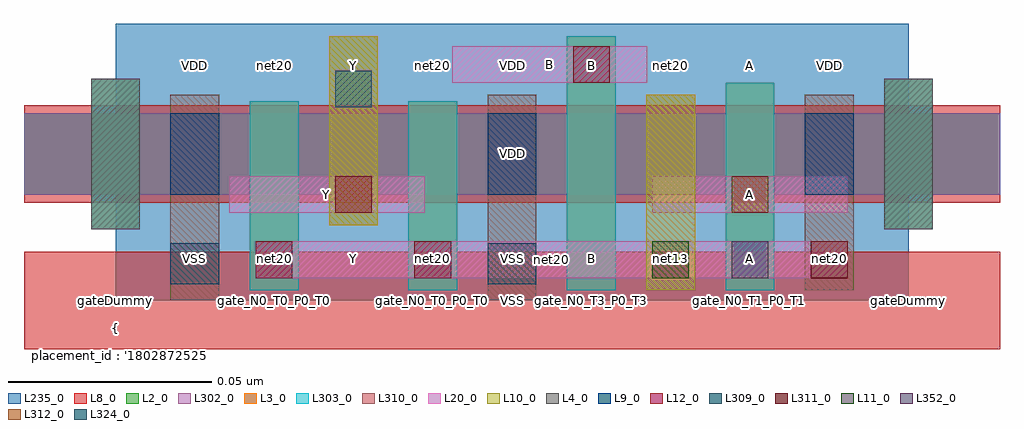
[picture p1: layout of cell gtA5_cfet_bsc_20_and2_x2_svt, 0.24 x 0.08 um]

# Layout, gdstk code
import gdstk
lib = gdstk.Library(unit=1e-6, precision=2.5e-10)
def R(c, l, rs):  # rectangles x0, y0, x1, y1
    for r in rs: c.add(gdstk.rectangle(r[:2], r[2:], *l))
def A(c, l, x, y, w, h, nx, ny, dx, dy):  # array of equal rectangles
    R(c, l, [(x+i*dx, y+j*dy, x+i*dx+w, y+j*dy+h) for i in range(nx) for j in range(ny)])
L2_0 = (2, 0)
L3_0 = (3, 0)
L4_0 = (4, 0)
L8_0 = (8, 0)
L9_0 = (9, 0)
L10_0 = (10, 0)
L11_0 = (11, 0)
L12_0 = (12, 0)
L20_0 = (20, 0)
L235_0 = (235, 0)
L302_0 = (302, 0)
L303_0 = (303, 0)
L309_0 = (309, 0)
L310_0 = (310, 0)
L311_0 = (311, 0)
L312_0 = (312, 0)
L324_0 = (324, 0)
L352_0 = (352, 0)

gta5_cfet_bsc_20_and2_x2 = lib.new_cell('gtA5_cfet_bsc_20_and2_x2_svt')
R(gta5_cfet_bsc_20_and2_x2, L2_0, [(-0.0225,0.026,0.2175,0.046)])
R(gta5_cfet_bsc_20_and2_x2, L3_0, [(0.033,0.0025,0.045,0.049), (0.072,0.0025,0.084,0.049), (0.111,0.0025,0.123,0.065), (0.15,0.0025,0.162,0.0535), (-0.006,0.0175,0.006,0.0545), (0.189,0.0175,0.201,0.0545)])
R(gta5_cfet_bsc_20_and2_x2, L4_0, [(-0.006,0.0175,0.006,0.0545), (0.189,0.0175,0.201,0.0545)])
R(gta5_cfet_bsc_20_and2_x2, L8_0, [(-0.0225,-0.012,0.2175,0.012), (-0.0225,0.024,0.2175,0.048)])
A(gta5_cfet_bsc_20_and2_x2, L9_0, 0.0135, 0.026, 0.012, 0.02, 3, 1, 0.078, 0)
R(gta5_cfet_bsc_20_and2_x2, L10_0, [(0.1305,0.0025,0.1425,0.0505), (0.0525,0.0185,0.0645,0.065)])
R(gta5_cfet_bsc_20_and2_x2, L11_0, [(0.132,0.0055,0.141,0.0145)])
R(gta5_cfet_bsc_20_and2_x2, L12_0, [(0.0345,0.0055,0.0435,0.0145), (0.0735,0.0055,0.0825,0.0145), (0.1125,0.0535,0.1215,0.0625)])
R(gta5_cfet_bsc_20_and2_x2, L20_0, [(0.0345,0.0055,0.18,0.0145), (0.028,0.0215,0.076,0.0305), (0.132,0.0215,0.18,0.0305), (0.0828,0.0535,0.1308,0.0625)])
R(gta5_cfet_bsc_20_and2_x2, L235_0, [(0,0,0.195,0.068)])
R(gta5_cfet_bsc_20_and2_x2, L302_0, [(-0.0225,0.026,0.2175,0.046)])
R(gta5_cfet_bsc_20_and2_x2, L303_0, [(0.033,0.0025,0.045,0.049), (0.072,0.0025,0.084,0.049), (0.111,0.0025,0.123,0.065), (0.15,0.0025,0.162,0.0535), (-0.006,0.0175,0.006,0.0545), (0.189,0.0175,0.201,0.0545)])
R(gta5_cfet_bsc_20_and2_x2, L309_0, [(0.0135,0.004,0.0255,0.014), (0.0915,0.004,0.1035,0.014)])
R(gta5_cfet_bsc_20_and2_x2, L310_0, [(0.0135,0,0.0255,0.0505), (0.0915,0,0.1035,0.0505), (0.1695,0.0025,0.1815,0.0505), (0.0525,0.0185,0.0645,0.065), (0.1305,0.026,0.1425,0.0505)])
R(gta5_cfet_bsc_20_and2_x2, L311_0, [(0.171,0.0055,0.18,0.0145), (0.054,0.0215,0.063,0.0305)])
R(gta5_cfet_bsc_20_and2_x2, L312_0, [(0.1515,0.0215,0.1605,0.0305)])
R(gta5_cfet_bsc_20_and2_x2, L324_0, [(0.054,0.0475,0.063,0.0565)])
R(gta5_cfet_bsc_20_and2_x2, L352_0, [(0.1515,0.0055,0.1605,0.0145)])
gta5_cfet_bsc_20_and2_x2.add(gdstk.Label('net20', (0.1072,0.01), layer=100, texttype=100))
gta5_cfet_bsc_20_and2_x2.add(gdstk.Label('gateDummy', (0,0), layer=103, texttype=103))
gta5_cfet_bsc_20_and2_x2.add(gdstk.Label('sd_N0_VSS_P0_VDD', (0.0195,0), layer=103, texttype=103))
gta5_cfet_bsc_20_and2_x2.add(gdstk.Label('gate_N0_T0_P0_T0', (0.039,0), layer=103, texttype=103))
gta5_cfet_bsc_20_and2_x2.add(gdstk.Label('sd_N0_T1_P0_T1', (0.0585,0), layer=103, texttype=103))
gta5_cfet_bsc_20_and2_x2.add(gdstk.Label('gate_N0_T0_P0_T0', (0.078,0), layer=103, texttype=103))
gta5_cfet_bsc_20_and2_x2.add(gdstk.Label('sd_N0_VSS_P0_VDD', (0.0975,0), layer=103, texttype=103))
gta5_cfet_bsc_20_and2_x2.add(gdstk.Label('gate_N0_T3_P0_T3', (0.117,0), layer=103, texttype=103))
gta5_cfet_bsc_20_and2_x2.add(gdstk.Label('sd_N0_abut_P0_T0', (0.1365,0), layer=103, texttype=103))
gta5_cfet_bsc_20_and2_x2.add(gdstk.Label('gate_N0_T1_P0_T1', (0.156,0), layer=103, texttype=103))
gta5_cfet_bsc_20_and2_x2.add(gdstk.Label('sd_N0_T0_P0_VDD', (0.1755,0), layer=103, texttype=103))
gta5_cfet_bsc_20_and2_x2.add(gdstk.Label('gateDummy', (0.195,0), layer=103, texttype=103))
gta5_cfet_bsc_20_and2_x2.add(gdstk.Label('}', (0,-0.0742), layer=104, texttype=104))
gta5_cfet_bsc_20_and2_x2.add(gdstk.Label('  power : None', (0,-0.0675), layer=104, texttype=104))
gta5_cfet_bsc_20_and2_x2.add(gdstk.Label('  performance : None', (0,-0.0607), layer=104, texttype=104))
gta5_cfet_bsc_20_and2_x2.add(gdstk.Label("  solution_hash : '9636578423902819790'", (0,-0.054), layer=104, texttype=104))
gta5_cfet_bsc_20_and2_x2.add(gdstk.Label('  number_m2 : 0', (0,-0.0473), layer=104, texttype=104))
gta5_cfet_bsc_20_and2_x2.add(gdstk.Label('  number_m1 : 0', (0,-0.0405), layer=104, texttype=104))
gta5_cfet_bsc_20_and2_x2.add(gdstk.Label('  number_m0cuts : 0', (0,-0.0338), layer=104, texttype=104))
gta5_cfet_bsc_20_and2_x2.add(gdstk.Label('  number_m0 : 4', (0,-0.027), layer=104, texttype=104))
gta5_cfet_bsc_20_and2_x2.add(gdstk.Label("  solution_number : '0000'", (0,-0.0203), layer=104, texttype=104))
gta5_cfet_bsc_20_and2_x2.add(gdstk.Label("  placement_id : '18028725256931618539'", (0,-0.0135), layer=104, texttype=104))
gta5_cfet_bsc_20_and2_x2.add(gdstk.Label('{', (0,-0.0067), layer=104, texttype=104))
gta5_cfet_bsc_20_and2_x2.add(gdstk.Label('VSS', (0.0195,0.0103), layer=105, texttype=105))
gta5_cfet_bsc_20_and2_x2.add(gdstk.Label('net20', (0.039,0.0103), layer=105, texttype=105))
gta5_cfet_bsc_20_and2_x2.add(gdstk.Label('Y', (0.0585,0.0103), layer=105, texttype=105))
gta5_cfet_bsc_20_and2_x2.add(gdstk.Label('net20', (0.078,0.0103), layer=105, texttype=105))
gta5_cfet_bsc_20_and2_x2.add(gdstk.Label('VSS', (0.0975,0.0103), layer=105, texttype=105))
gta5_cfet_bsc_20_and2_x2.add(gdstk.Label('B', (0.117,0.0103), layer=105, texttype=105))
gta5_cfet_bsc_20_and2_x2.add(gdstk.Label('net13', (0.1365,0.0103), layer=105, texttype=105))
gta5_cfet_bsc_20_and2_x2.add(gdstk.Label('A', (0.156,0.0103), layer=105, texttype=105))
gta5_cfet_bsc_20_and2_x2.add(gdstk.Label('net20', (0.1755,0.0103), layer=105, texttype=105))
gta5_cfet_bsc_20_and2_x2.add(gdstk.Label('VDD', (0.0195,0.0578), layer=105, texttype=105))
gta5_cfet_bsc_20_and2_x2.add(gdstk.Label('net20', (0.039,0.0578), layer=105, texttype=105))
gta5_cfet_bsc_20_and2_x2.add(gdstk.Label('Y', (0.0585,0.0578), layer=105, texttype=105))
gta5_cfet_bsc_20_and2_x2.add(gdstk.Label('net20', (0.078,0.0578), layer=105, texttype=105))
gta5_cfet_bsc_20_and2_x2.add(gdstk.Label('VDD', (0.0975,0.0578), layer=105, texttype=105))
gta5_cfet_bsc_20_and2_x2.add(gdstk.Label('B', (0.117,0.0578), layer=105, texttype=105))
gta5_cfet_bsc_20_and2_x2.add(gdstk.Label('net20', (0.1365,0.0578), layer=105, texttype=105))
gta5_cfet_bsc_20_and2_x2.add(gdstk.Label('A', (0.156,0.0578), layer=105, texttype=105))
gta5_cfet_bsc_20_and2_x2.add(gdstk.Label('VDD', (0.1755,0.0578), layer=105, texttype=105))
gta5_cfet_bsc_20_and2_x2.add(gdstk.Label('VSS', (0.0975,0), layer=8, texttype=0))
gta5_cfet_bsc_20_and2_x2.add(gdstk.Label('VDD', (0.0975,0.036), layer=8, texttype=0))
gta5_cfet_bsc_20_and2_x2.add(gdstk.Label('Y', (0.052,0.026), layer=20, texttype=251))
gta5_cfet_bsc_20_and2_x2.add(gdstk.Label('A', (0.156,0.026), layer=20, texttype=251))
gta5_cfet_bsc_20_and2_x2.add(gdstk.Label('B', (0.1067,0.058), layer=20, texttype=251))
gta5_cfet_bsc_20_and2_x2.add(gdstk.Label('gtA5_cfet_bsc_20nm_and2_x2_rvt_0', (0,0), layer=235, texttype=0))

lib.write_gds('gtA5_cfet_bsc_20_and2_x2_svt.gds')
